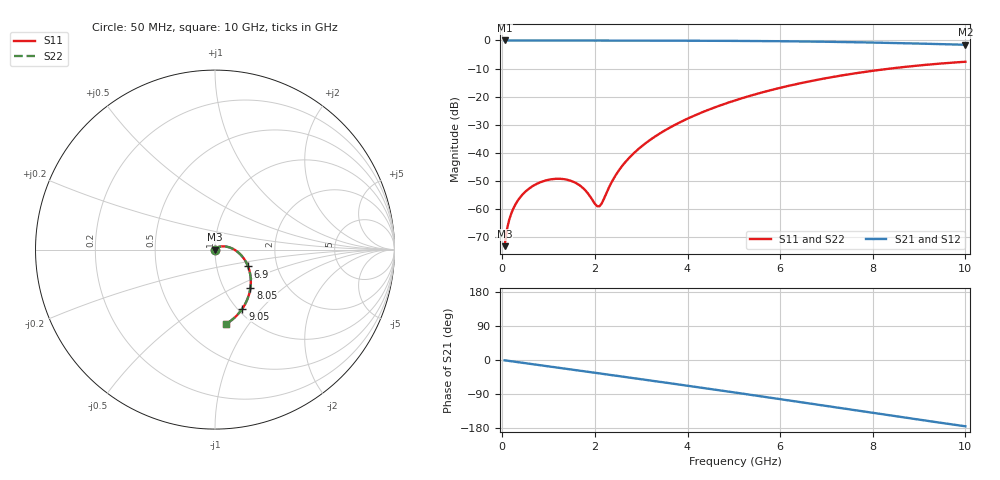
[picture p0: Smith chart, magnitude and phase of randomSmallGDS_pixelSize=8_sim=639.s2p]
! freq	dB(S11)	phase(S11)	dB(S12)	phase(S12)
!  dB(S21)	phase(S21)	dB(S22)	phase(S22)
!S-par simulation data
#  GHz  S  DB  R 50
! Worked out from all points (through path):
!   200 points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, 50 MHz to 10 GHz, reference 50 ohm
!   highest |S21| = 0.00 dB at 50 MHz (marker M1); lowest = -1.5 dB at 10 GHz (marker M2)
!   group delay of S21, straight-line fit = 48.8 ps
!   lowest |S11| = -73.2 dB at 50 MHz (marker M3), VSWR 1.00, Z = 50 - j0.0218 ohm
!   |S11| at or under -10 dB: start of sweep to 8.378 GHz
!   |S22| runs from -73.2 to -7.6 dB; largest |S21 - S12| = 0
!   S11 on the Smith chart (normalised r, x): 50 MHz: 1.00, -0.00; 6.9 GHz: 1.42, -0.28; 8.05 GHz: 1.32, -0.62; 9.05 GHz: 1.05, -0.80; 10 GHz: 0.79, -0.79
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0.05  -73.16 -83.8  -0.00 -0.8  -0.00 -0.8  -73.17 -83.8
0.1  -67.21 -88.5  -0.00 -1.7  -0.00 -1.7  -67.21 -88.5
0.15  -63.73 -90.8  -0.00 -2.5  -0.00 -2.5  -63.73 -90.8
0.25  -59.38 -93.9  -0.00 -4.2  -0.00 -4.2  -59.38 -93.9
0.4  -55.51 -97.7  -0.01 -6.8  -0.01 -6.8  -55.51 -97.6
0.6  -52.42 -102.3  -0.01 -10.2  -0.01 -10.2  -52.43 -102.3
0.9  -49.98 -109.4  -0.02 -15.2  -0.02 -15.2  -49.98 -109.4
1.25  -49.20 -118.5  -0.02 -21.1  -0.02 -21.1  -49.20 -118.5
1.75  -52.60 -140.1  -0.03 -29.5  -0.03 -29.5  -52.61 -139.9
2  -58.10 179.7  -0.04 -33.7  -0.04 -33.7  -58.16 179.9
2.1  -58.96 139.8  -0.04 -35.4  -0.04 -35.4  -59.04 139.7
2.4  -49.26 72.7  -0.04 -40.5  -0.04 -40.5  -49.27 72.4
2.65  -43.40 58.6  -0.05 -44.7  -0.05 -44.7  -43.40 58.5
3.4  -33.10 38.3  -0.07 -57.5  -0.07 -57.5  -33.10 38.2
4.15  -26.71 23.3  -0.10 -70.5  -0.10 -70.5  -26.71 23.3
5.05  -21.19 6.6  -0.16 -86.3  -0.16 -86.3  -21.19 6.6
6.7  -14.33 -23.4  -0.40 -115.9  -0.40 -115.9  -14.33 -23.4
6.9  -13.69 -27.0  -0.44 -119.5  -0.44 -119.5  -13.69 -27.0
8.05  -10.68 -47.6  -0.76 -140.4  -0.76 -140.4  -10.68 -47.7
8.35  -10.05 -52.9  -0.87 -145.8  -0.87 -145.8  -10.05 -53.0
9.05  -8.81 -65.1  -1.13 -158.3  -1.13 -158.3  -8.81 -65.2
10  -7.57 -81.2  -1.53 -174.9  -1.53 -174.9  -7.57 -81.2
